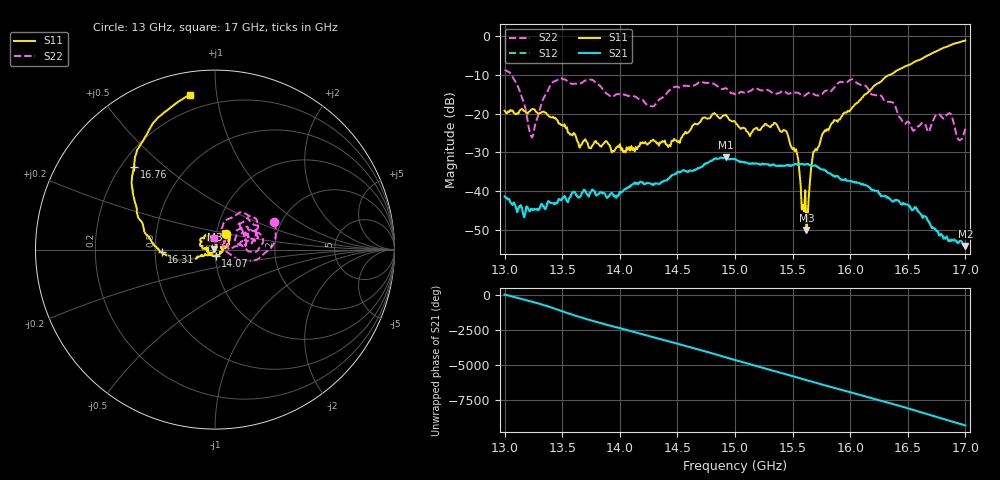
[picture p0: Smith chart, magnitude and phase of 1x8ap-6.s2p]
!Keysight Technologies,P9374A,MY57211807,A.19.30.04
!Date: Friday, May 08, 2026 15:39:27
!Correction: S11(C  2-Port  )
!S21(C  2-Port  )
!S12(C  2-Port  )
!S22(C  2-Port  )
!S2P File: Measurements: S11, S21, S12, S22:
# Hz S  dB  R 50
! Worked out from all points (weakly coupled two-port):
!   401 points, 13 GHz to 17 GHz, reference 50 ohm
!   highest |S21| = -31.21 dB at 14.92 GHz (marker M1); lowest = -54.1 dB at 17 GHz (marker M2)
!   lowest |S11| = -50.0 dB at 15.62 GHz (marker M3), VSWR 1.01, Z = 49.7 + j0.126 ohm
!   |S11| at or under -10 dB: start of sweep to 16.35 GHz
!   |S22| runs from -26.9 to -8.8 dB; largest |S21 - S12| = 0.00083
!   S11 on the Smith chart (normalised r, x): 13 GHz: 1.12, +0.20; 14.07 GHz: 1.01, -0.07; 16.31 GHz: 0.54, -0.02; 16.76 GHz: 0.25, +0.40; 17 GHz: 0.12, +0.85
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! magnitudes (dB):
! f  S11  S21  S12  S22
! 13 GHz  -19.3  -41.3  -41.3  -8.8
! 13.12 GHz  -20.0  -44.4  -44.3  -13.3
! 13.23 GHz  -19.0  -44.6  -44.6  -25.8
! 13.42 GHz  -20.8  -43.1  -43.0  -11.9
! 13.67 GHz  -27.9  -40.5  -40.6  -12.1
! 14.07 GHz  -29.4  -39.1  -39.1  -15.4
! 14.34 GHz  -28.3  -38.1  -38.3  -16.4
! 14.92 GHz  -20.3  -31.2  -31.2  -13.5
! 15 GHz  -22.1  -31.8  -31.8  -15.0
! 15.44 GHz  -24.4  -33.3  -33.3  -14.5
! 15.53 GHz  -29.2  -33.0  -33.0  -14.6
! 15.58 GHz  -44.7  -33.0  -33.0  -15.3
! 15.62 GHz  -50.0  -33.1  -33.0  -15.1
! 15.67 GHz  -32.2  -33.5  -33.4  -14.7
! 15.78 GHz  -24.3  -34.6  -34.6  -14.2
! 16.02 GHz  -18.3  -37.5  -37.5  -11.2
! 16.31 GHz  -10.5  -41.4  -41.3  -17.0
! 16.34 GHz  -10.1  -41.9  -41.9  -17.0
! 16.55 GHz  -6.8  -44.8  -44.8  -24.5
! 16.76 GHz  -3.8  -50.2  -50.2  -20.1
! 16.95 GHz  -1.6  -52.8  -53.0  -26.9
! 17 GHz  -1.2  -54.1  -54.0  -23.9
